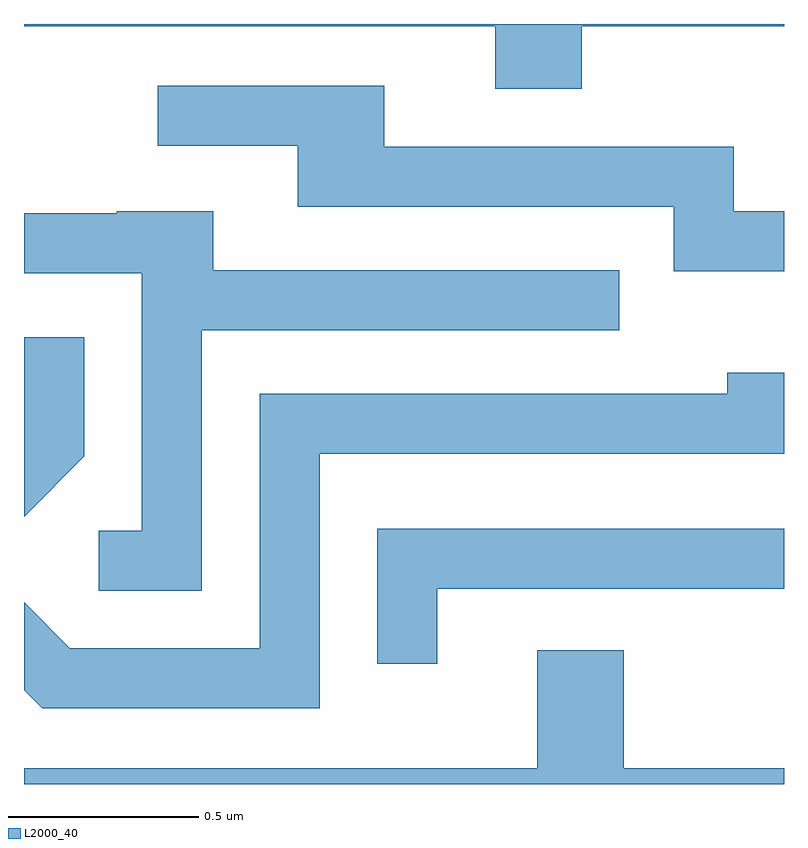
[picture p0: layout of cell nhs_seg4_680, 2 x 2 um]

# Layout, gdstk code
import gdstk
lib = gdstk.Library(unit=1e-6, precision=1e-09)
def P(c, l, *ps):  # polygons
    for p in ps: c.add(gdstk.Polygon(p, *l))
L2000_40 = (2000, 40)

nhs_seg4_680 = lib.new_cell('nhs_seg4_680')
P(nhs_seg4_680, L2000_40, [(191.079,1387.976),(191.611,1387.976),(191.611,1387.982),(189.611,1387.982),(189.611,1387.976),(190.851,1387.976),(190.851,1387.811),(191.079,1387.811)],
  [(191.611,1387.489),(191.479,1387.489),(191.479,1387.659),(190.559,1387.659),(190.559,1387.819),(189.963,1387.819),(189.963,1387.661),(190.331,1387.661),(190.331,1387.501),(191.321,1387.501),(191.321,1387.331),(191.611,1387.331)],
  [(190.079,1387.176),(191.178,1387.176),(191.178,1387.334),(190.109,1387.334),(190.109,1387.489),(189.855,1387.489),(189.855,1387.484),(189.611,1387.484),(189.611,1387.326),(189.921,1387.326),(189.921,1386.649),(189.808,1386.649),(189.808,1386.491),(190.079,1386.491)],
  [(189.769,1386.844),(189.769,1387.158),(189.611,1387.158),(189.611,1386.685)],
  [(190.389,1386.851),(191.611,1386.851),(191.611,1387.064),(191.461,1387.064),(191.461,1387.009),(190.231,1387.009),(190.231,1386.339),(189.732,1386.339),(189.611,1386.46),(189.611,1386.229),(189.659,1386.181),(190.389,1386.181)],
  [(190.699,1386.496),(191.611,1386.496),(191.611,1386.654),(190.541,1386.654),(190.541,1386.298),(190.699,1386.298)],
  [(191.611,1386.024),(191.189,1386.024),(191.189,1386.334),(190.961,1386.334),(190.961,1386.024),(189.611,1386.024),(189.611,1385.982),(191.611,1385.982)])

lib.write_gds('nhs_seg4_680.gds')
